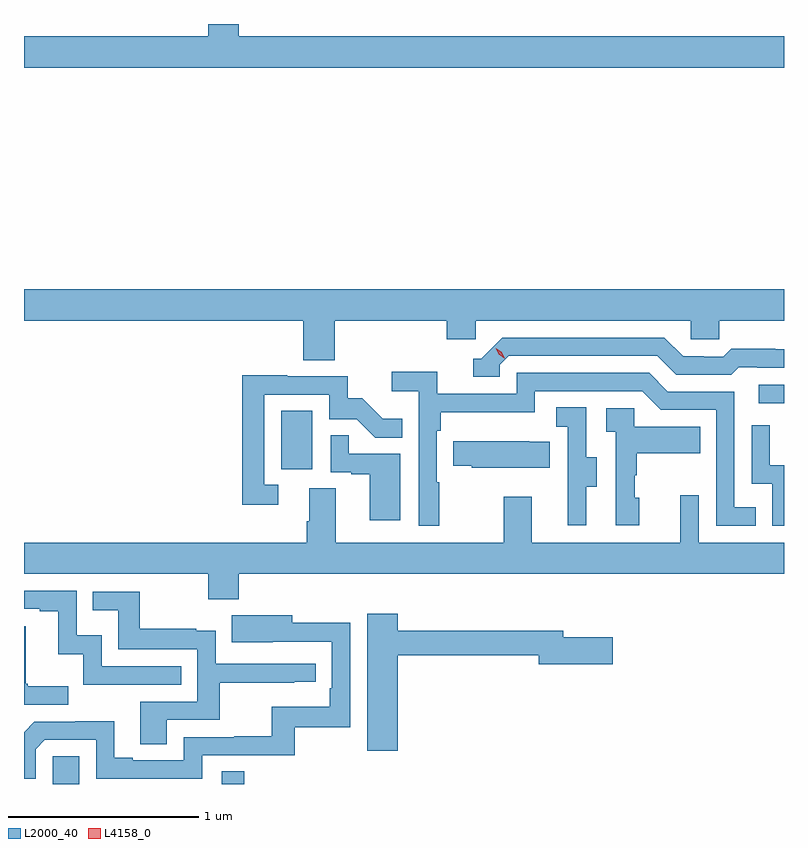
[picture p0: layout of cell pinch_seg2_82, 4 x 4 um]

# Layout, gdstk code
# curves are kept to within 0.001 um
import gdstk
lib = gdstk.Library(unit=1e-6, precision=1e-09)
def R(c, l, rs):  # rectangles x0, y0, x1, y1
    for r in rs: c.add(gdstk.rectangle(r[:2], r[2:], *l))
def P(c, l, *ps):  # polygons
    for p in ps: c.add(gdstk.Polygon(p, *l))
L2000_40 = (2000, 40)
L4158_0 = (4158, 0)

pinch_seg2_82 = lib.new_cell('pinch_seg2_82')
R(pinch_seg2_82, L2000_40, [(1057.002,653.189,1057.141,653.336), (1057.893,653.189,1058.009,653.255), (1058.204,654.846,1058.368,655.153), (1060.719,655.194,1060.851,655.29)])
P(pinch_seg2_82, L2000_40, [(1060.851,657.124),(1057.982,657.124),(1057.982,657.189),(1057.822,657.189),(1057.822,657.124),(1056.851,657.124),(1056.851,656.96),(1060.851,656.96)],
  [(1058.486,655.628),(1059.077,655.628),(1059.077,655.53),(1059.228,655.53),(1059.228,655.628),(1060.359,655.628),(1060.359,655.53),(1060.509,655.53),(1060.509,655.628),(1060.851,655.628),(1060.851,655.792),(1056.851,655.792),(1056.851,655.628),(1058.321,655.628),(1058.321,655.42),(1058.486,655.42)],
  [(1059.354,655.395),(1059.402,655.443),(1060.185,655.443),(1060.284,655.344),(1060.573,655.344),(1060.612,655.383),(1060.711,655.383),(1060.711,655.38),(1060.851,655.38),(1060.851,655.477),(1060.806,655.477),(1060.806,655.48),(1060.573,655.48),(1060.531,655.437),(1060.428,655.437),(1060.428,655.44),(1060.321,655.44),(1060.222,655.539),(1059.369,655.539),(1059.258,655.428),(1059.215,655.428),(1059.215,655.332),(1059.354,655.332)],
  [(1059.037,654.776),(1059.024,654.776),(1059.024,655.049),(1059.044,655.049),(1059.044,655.145),(1059.54,655.145),(1059.54,655.257),(1060.104,655.257),(1060.203,655.158),(1060.494,655.158),(1060.494,654.549),(1060.703,654.549),(1060.703,654.645),(1060.59,654.645),(1060.59,655.254),(1060.24,655.254),(1060.141,655.353),(1059.444,655.353),(1059.444,655.242),(1059.026,655.242),(1059.026,655.358),(1058.787,655.358),(1058.787,655.256),(1058.928,655.256),(1058.928,654.549),(1059.037,654.549)],
  [(1058.188,654.765),(1058.115,654.765),(1058.115,655.239),(1058.457,655.239),(1058.457,655.11),(1058.601,655.11),(1058.699,655.012),(1058.843,655.012),(1058.843,655.111),(1058.739,655.111),(1058.632,655.218),(1058.556,655.218),(1058.556,655.335),(1058.237,655.335),(1058.237,655.34),(1057.999,655.34),(1057.999,654.66),(1058.188,654.66)],
  [(1059.811,654.754),(1059.865,654.754),(1059.865,654.909),(1059.81,654.909),(1059.81,655.172),(1059.651,655.172),(1059.651,655.069),(1059.714,655.069),(1059.714,654.765),(1059.713,654.765),(1059.713,654.552),(1059.811,654.552)],
  [(1060.09,654.696),(1060.065,654.696),(1060.065,654.815),(1060.075,654.815),(1060.075,654.929),(1060.409,654.929),(1060.409,655.069),(1060.062,655.069),(1060.062,655.167),(1059.915,655.167),(1059.915,655.043),(1059.966,655.043),(1059.966,654.552),(1060.09,654.552)],
  [(1060.851,654.866),(1060.776,654.866),(1060.776,655.078),(1060.68,655.078),(1060.68,654.768),(1060.788,654.768),(1060.788,654.549),(1060.851,654.549)],
  [(1058.83,654.927),(1058.561,654.927),(1058.561,655.025),(1058.466,655.025),(1058.466,654.831),(1058.573,654.831),(1058.573,654.819),(1058.672,654.819),(1058.672,654.576),(1058.83,654.576)],
  [(1059.617,654.991),(1059.509,654.991),(1059.509,654.994),(1059.109,654.994),(1059.109,654.865),(1059.207,654.865),(1059.207,654.854),(1059.617,654.854)],
  [(1057.982,654.296),(1060.851,654.296),(1060.851,654.46),(1060.401,654.46),(1060.401,654.709),(1060.304,654.709),(1060.304,654.46),(1059.523,654.46),(1059.523,654.7),(1059.376,654.7),(1059.376,654.46),(1058.491,654.46),(1058.491,654.746),(1058.351,654.746),(1058.351,654.572),(1058.339,654.572),(1058.339,654.46),(1056.851,654.46),(1056.851,654.296),(1057.822,654.296),(1057.822,654.161),(1057.982,654.161)],
  [(1057.679,653.808),(1057.26,653.808),(1057.26,653.971),(1057.128,653.971),(1057.128,654.207),(1056.851,654.207),(1056.851,654.111),(1056.935,654.111),(1056.935,654.099),(1057.031,654.099),(1057.031,653.873),(1057.164,653.873),(1057.164,653.712),(1057.679,653.712)],
  [(1057.603,653.526),(1057.88,653.526),(1057.88,653.722),(1058.273,653.722),(1058.273,653.727),(1058.386,653.727),(1058.386,653.823),(1057.86,653.823),(1057.86,653.995),(1057.757,653.995),(1057.757,654.007),(1057.459,654.007),(1057.459,654.201),(1057.213,654.201),(1057.213,654.104),(1057.348,654.104),(1057.348,653.898),(1057.764,653.898),(1057.764,653.622),(1057.463,653.622),(1057.463,653.398),(1057.603,653.398)],
  [(1058.818,653.866),(1059.56,653.866),(1059.56,653.819),(1059.949,653.819),(1059.949,653.961),(1059.688,653.961),(1059.688,653.995),(1058.818,653.995),(1058.818,654.085),(1058.657,654.085),(1058.657,653.364),(1058.818,653.364)],
  [(1056.912,653.373),(1056.96,653.421),(1057.23,653.421),(1057.23,653.217),(1057.788,653.217),(1057.788,653.34),(1058.275,653.34),(1058.275,653.487),(1058.568,653.487),(1058.568,654.038),(1058.263,654.038),(1058.263,654.076),(1057.945,654.076),(1057.945,653.936),(1058.472,653.937),(1058.472,653.692),(1058.459,653.692),(1058.459,653.596),(1058.154,653.596),(1058.154,653.441),(1057.957,653.441),(1057.957,653.436),(1057.692,653.436),(1057.692,653.313),(1057.423,653.313),(1057.423,653.326),(1057.327,653.326),(1057.327,653.519),(1057.122,653.519),(1057.122,653.517),(1056.906,653.517),(1056.851,653.462),(1056.851,653.217),(1056.912,653.217)],
  [(1057.084,653.704),(1056.871,653.704),(1056.871,653.716),(1056.859,653.716),(1056.859,654.019),(1056.851,654.019),(1056.851,653.607),(1057.084,653.607)])
P(pinch_seg2_82, L4158_0, [(1059.379,655.43),(1059.349,655.45),(1059.333,655.483),(1059.333,655.483),(1059.334,655.483),(1059.364,655.463),(1059.38,655.431),(1059.38,655.43)])

lib.write_gds('pinch_seg2_82.gds')
